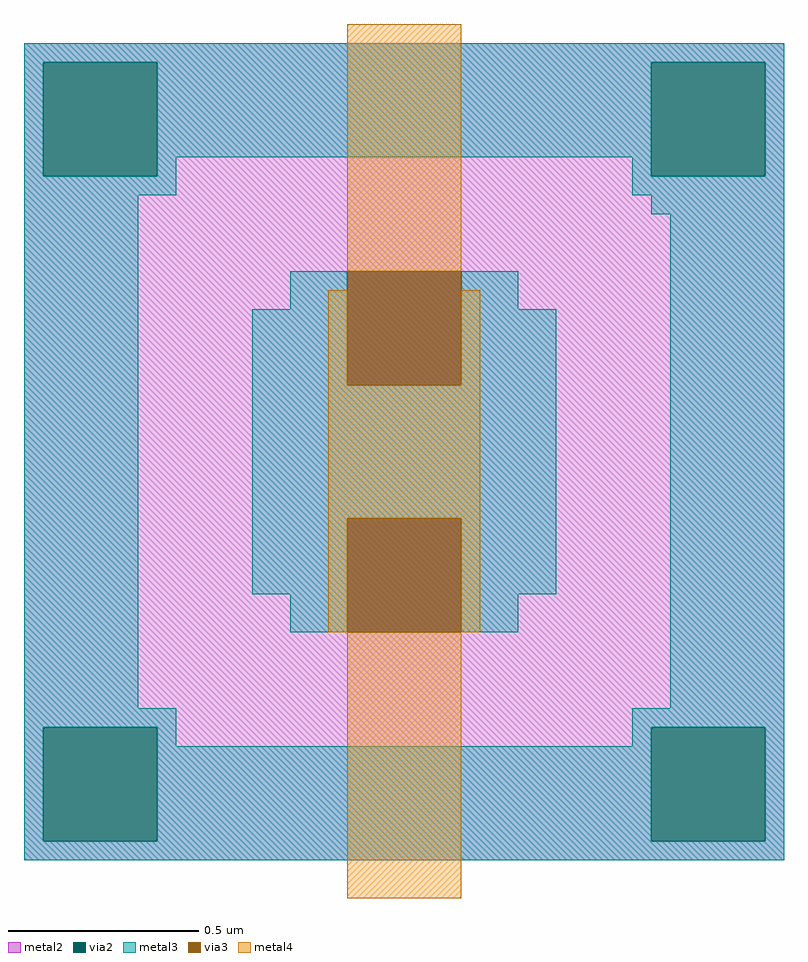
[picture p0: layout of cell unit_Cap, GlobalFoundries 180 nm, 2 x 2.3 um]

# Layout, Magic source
magic
tech gf180mcuD
<< metal2 >>
rect 0 42 40 43
rect 0 36 1 42
rect 7 36 33 42
rect 39 36 40 42
rect 0 7 40 36
rect 0 1 1 7
rect 7 1 33 7
rect 39 1 40 7
rect 0 0 40 1
<< via2 >>
rect 1 36 7 42
rect 33 36 39 42
rect 1 1 7 7
rect 33 1 39 7
<< metal3 >>
rect 0 42 40 43
rect 0 36 1 42
rect 7 37 33 42
rect 7 36 8 37
rect 0 35 8 36
rect 32 36 33 37
rect 39 36 40 42
rect 32 35 40 36
rect 0 8 6 35
rect 33 34 40 35
rect 14 29 17 31
rect 12 25 17 29
rect 23 29 26 31
rect 23 25 28 29
rect 12 18 28 25
rect 12 14 17 18
rect 14 12 17 14
rect 23 14 28 18
rect 23 12 26 14
rect 34 8 40 34
rect 0 7 8 8
rect 0 1 1 7
rect 7 6 8 7
rect 32 7 40 8
rect 32 6 33 7
rect 7 1 33 6
rect 39 1 40 7
rect 0 0 40 1
<< via3 >>
rect 17 25 23 31
rect 17 12 23 18
<< metal4 >>
rect 17 31 23 44
rect 16 25 17 30
rect 23 25 24 30
rect 16 18 24 25
rect 16 12 17 18
rect 23 12 24 18
rect 17 -2 23 12
<< end >>
